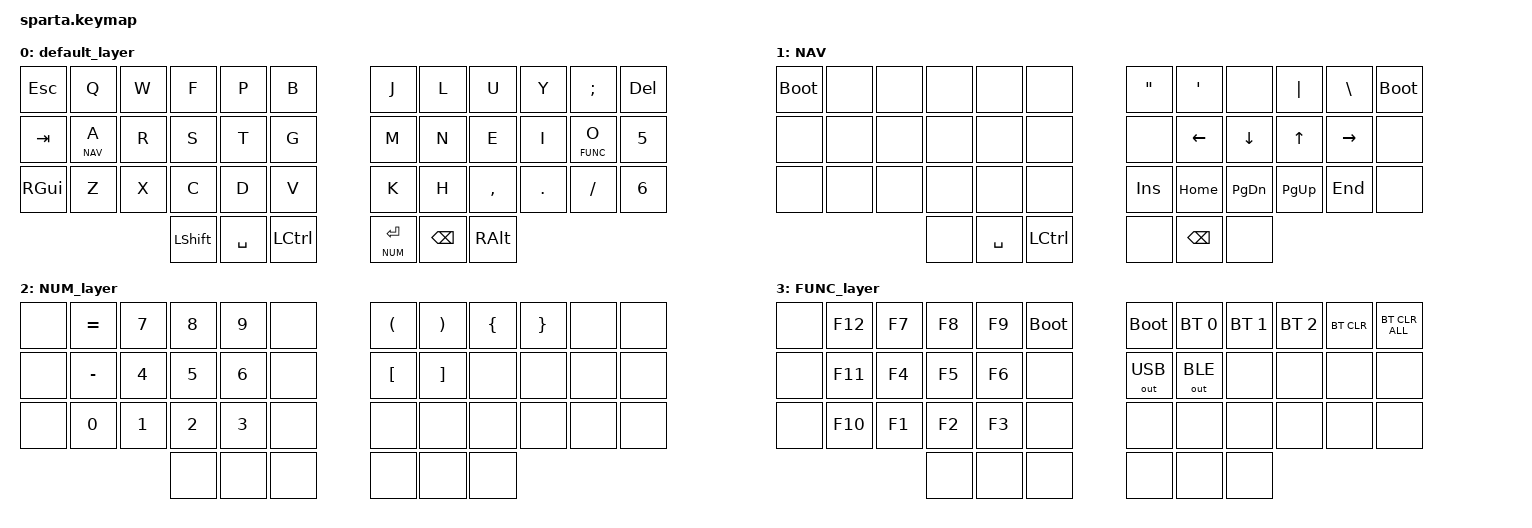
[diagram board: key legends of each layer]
#include <behaviors.dtsi>
#include <dt-bindings/zmk/keys.h>
#include <dt-bindings/zmk/bt.h>
#include <dt-bindings/zmk/outputs.h>

#define BASE 0
#define NAV 1
#define NUM 2
#define FUNC 3

/ {
    keymap {
        compatible = "zmk,keymap";

        default_layer { // Layer 0
            bindings = <
                &kp ESCAPE &kp Q &kp W &kp F &kp P &kp B        &kp J &kp L &kp U &kp Y &kp SEMICOLON &kp DELETE
                &kp TAB &lt NAV A &kp R &kp S &kp T &kp G        &kp M &kp N &kp E &kp I &lt FUNC O &kp N5
                &kp RGUI  &kp Z &kp X &kp C &kp D &kp V        &kp K &kp H &kp COMMA &kp PERIOD &kp SLASH &kp N6
                    &kp LSHIFT &kp SPACE  &kp LCTRL         &lt NUM RETURN  &kp BACKSPACE &kp RALT
            >;
        };

        NAV {
                        bindings = <
&bootloader &none &none &none &none &none  &kp DOUBLE_QUOTES &kp SINGLE_QUOTE &none &kp PIPE &kp BACKSLASH &bootloader
&none &none &none &none &none &none  &none &kp LEFT &kp DOWN &kp UP &kp RIGHT &none
&none &none &none &none &none &none  &kp INSERT &kp HOME &kp PAGE_DOWN &kp PAGE_UP &kp END &none
&none &kp SPACE  &kp LCTRL      &none &kp BACKSPACE &none
                        >;
                };

                NUM_layer {
                        bindings = <
&none &kp EQUAL &kp N7 &kp N8 &kp N9 &none                 &kp LPAR &kp RPAR &kp LBRC &kp RBRC &none  &none
&none &kp MINUS  &kp N4 &kp N5 &kp N6 &none                &kp LBKT &kp RBKT  &none &none &none &none
&none &kp N0 &kp N1 &kp N2 &kp N3 &none                    &none &none &none &none &none &none
&none &none &none &none &none &none
                        >;
                };

                FUNC_layer {
                        bindings = <
&none &kp F12 &kp F7 &kp F8 &kp F9 &bootloader         &bootloader &bt BT_SEL 0 &bt BT_SEL 1 &bt BT_SEL 2 &bt BT_CLR &bt BT_CLR_ALL
&none &kp F11 &kp F4 &kp F5 &kp F6 &none         &out OUT_USB &out OUT_BLE &none &none &none &none
&none &kp F10 &kp F1 &kp F2 &kp F3 &none         &none &none &none &none &none &none
&none &none &none &none &none &none
                        >;
                };
    };
 };
